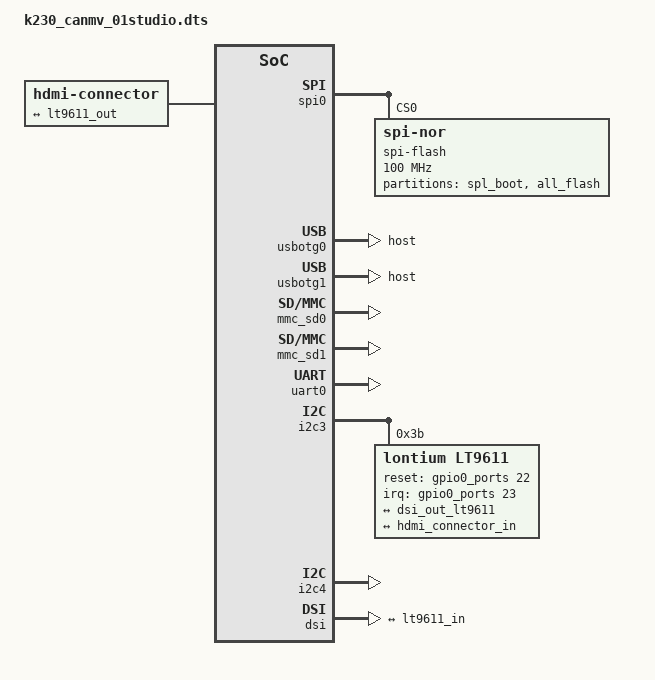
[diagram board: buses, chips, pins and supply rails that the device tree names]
/* Copyright (c) 2023, Canaan Bright Sight Co., Ltd
 *
 * This program is free software; you can redistribute it and/or modify
 * it under the terms of the GNU General Public License version 2 as
 * published by the Free Software Foundation.
*/
#include "k230.dtsi"
#include "clock_provider.dtsi"          /* k230 soc clock tree */
#include "clock_consumer.dtsi"          /* k230 soc clock consumer */
#include "reset_provider.dtsi"          /* k230 soc reset provider */
#include "reset_consumer.dtsi"          /* k230 soc reset consumer */
#include "power_provider.dtsi"          /* k230 soc power provider */
#include "power_consumer.dtsi"          /* k230 soc power consumer */
#include "gpio_provider.dtsi"           /* k230 soc gpio provider */
#include "gpio_consumer.dtsi"           /* k230 soc gpio consumer */

/ {
	aliases {
		serial0 = &uart0;
	};

	chosen {
		bootargs = "earlycon=sbi console=ttyS0,115200 loglevel=8 root=/dev/mmcblk1p2 rw rootwait audit=0";
		linux,initrd-start = <0x0 0xa100000>;
		linux,initrd-end = <0x0 0x0>;
		stdout-path = "serial0:115200";
	};

	hdmi: connector {
		compatible = "hdmi-connector";
		label = "hdmi";
		type = "a";

		port {
			hdmi_connector_in: endpoint {
				remote-endpoint = <&lt9611_out>;
			};
		};
	};
};

&ddr {
	reg = <0x0 0x200000 0x0 0x3fdff000>;  /* 1GB RAM (minus reserved) */
};

&spi0 {
	status = "okay";
	spi-flash@0 {
		compatible = "jedec,spi-nor";
		#address-cells = <1>;
		#size-cells = <1>;
		reg = <0>;
		spi-max-frequency = <100000000>;
		spi-tx-bus-width = <8>;
		spi-rx-bus-width = <8>;
		status = "okay";
		partitions {
			compatible = "fixed-partitions";
			#address-cells = <1>;
			#size-cells = <1>;

			partition@0 {
			/* spl boot */
			reg = <0x0 0x00080000>;
			label = "spl_boot";
			};
			partition@2000000 {
			/* 32MB for  update image*/
			reg = <0 0x2000000>;
			label = "all_flash";
			};
		};
	};

};

&usbotg0 {
	dr_mode = "host";
	status = "okay";
};

&usbotg1 {
	dr_mode = "host";
	status = "okay";
};


&mmc_sd0{
    status = "okay";
    no-1-8-v;
    cap-sd-highspeed;
    rx_delay_line = <0x0d>;
    tx_delay_line = <0xb0>;
};

&mmc_sd1{
    status = "okay";
    no-1-8-v;
    cap-sd-highspeed;
    mshc_ctrl_r = <0x00>;
};

&uart0 {
	status = "okay";
};

&i2c3 {
	status = "okay";

	lt9611: hdmi-bridge@3b {
		compatible = "lontium,lt9611";
		reg = <0x3b>;
		reset-gpios = <&gpio0_ports 22 GPIO_ACTIVE_HIGH>;
		interrupt-parent = <&gpio0_ports>;
		interrupts = <23 IRQ_TYPE_EDGE_FALLING>;
		ports {
			#address-cells  = <1>;
			#size-cells     = <0>;
			port@0 {
				reg = <0>;
				lt9611_in: endpoint {
					remote-endpoint = <&dsi_out_lt9611>;
				};
			};

			port@2 {
				reg = <2>;
				lt9611_out: endpoint {
					remote-endpoint = <&hdmi_connector_in>;
				};
			};
		};
	};
};

&i2c4 {
	status = "okay";
};

&dsi {
	status = "okay";

	ports {
		port@1 {
			reg = <1>;
			dsi_out_lt9611: endpoint {
				remote-endpoint = <&lt9611_in>;
			};
		};
	};
};

&vo {
	vth_line = <10>;
};
